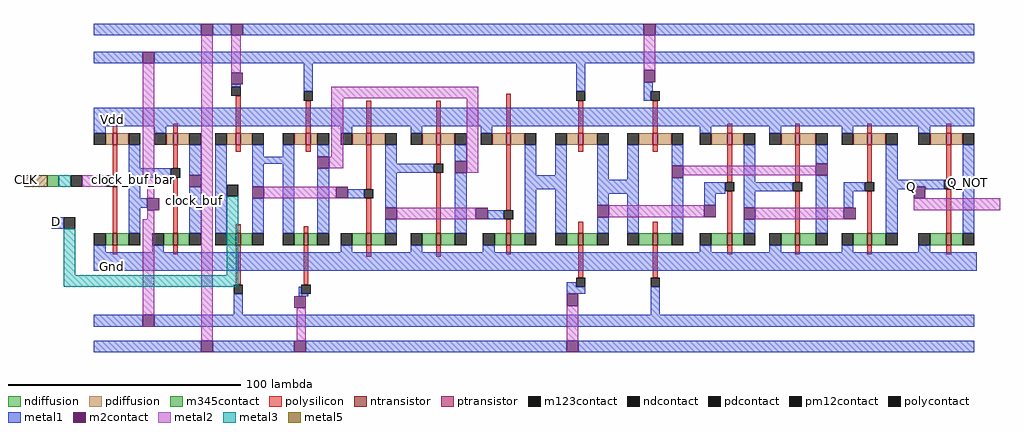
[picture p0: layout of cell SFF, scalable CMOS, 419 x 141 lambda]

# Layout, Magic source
magic
tech scmos
<< ntransistor >>
rect -88 -43 -86 -38
rect -62 -43 -60 -38
rect -35 -43 -33 -38
rect -6 -43 -4 -38
rect 21 -43 23 -38
rect 51 -43 53 -38
rect 81 -43 83 -38
rect 112 -43 114 -38
rect 144 -43 146 -38
rect 176 -43 178 -38
rect 205 -43 207 -38
rect 236 -43 238 -38
rect 270 -43 272 -38
<< ptransistor >>
rect -88 0 -86 5
rect -62 0 -60 5
rect -35 0 -33 5
rect -5 0 -3 5
rect 21 0 23 5
rect 51 0 53 5
rect 81 0 83 5
rect 112 0 114 5
rect 144 0 146 5
rect 176 0 178 5
rect 205 0 207 5
rect 236 0 238 5
rect 270 0 272 5
<< ndiffusion >>
rect -91 -43 -88 -38
rect -86 -43 -81 -38
rect -66 -43 -62 -38
rect -60 -43 -55 -38
rect -39 -43 -35 -38
rect -33 -43 -28 -38
rect -10 -43 -6 -38
rect -4 -43 0 -38
rect 15 -43 21 -38
rect 23 -43 29 -38
rect 45 -43 51 -38
rect 53 -43 59 -38
rect 76 -43 81 -38
rect 83 -43 89 -38
rect 107 -43 112 -38
rect 114 -43 120 -38
rect 138 -43 144 -38
rect 146 -43 152 -38
rect 169 -43 176 -38
rect 178 -43 183 -38
rect 199 -43 205 -38
rect 207 -43 214 -38
rect 230 -43 236 -38
rect 238 -43 244 -38
rect 263 -43 270 -38
rect 272 -43 277 -38
<< pdiffusion >>
rect -91 0 -88 5
rect -86 0 -81 5
rect -65 0 -62 5
rect -60 0 -55 5
rect -39 0 -35 5
rect -33 0 -28 5
rect -10 0 -5 5
rect -3 0 0 5
rect 15 0 21 5
rect 23 0 29 5
rect 45 0 51 5
rect 53 0 59 5
rect 75 0 81 5
rect 83 0 89 5
rect 107 0 112 5
rect 114 0 120 5
rect 138 0 144 5
rect 146 0 152 5
rect 169 0 176 5
rect 178 0 183 5
rect 199 0 205 5
rect 207 0 214 5
rect 230 0 236 5
rect 238 0 244 5
rect 263 0 270 5
rect 272 0 277 5
<< ndcontact >>
rect -96 -43 -91 -38
rect -81 -43 -76 -38
rect -71 -43 -66 -38
rect -55 -43 -50 -38
rect -44 -43 -39 -38
rect -28 -43 -23 -38
rect -15 -43 -10 -38
rect 0 -43 5 -38
rect 10 -43 15 -38
rect 29 -43 34 -38
rect 40 -43 45 -38
rect 59 -43 64 -38
rect 71 -43 76 -38
rect 89 -43 94 -38
rect 102 -43 107 -38
rect 120 -43 125 -38
rect 133 -43 138 -38
rect 152 -43 157 -38
rect 164 -43 169 -38
rect 183 -43 188 -38
rect 194 -43 199 -38
rect 214 -43 219 -38
rect 225 -43 230 -38
rect 244 -43 249 -38
rect 258 -43 263 -38
rect 277 -43 282 -38
<< pdcontact >>
rect -96 0 -91 5
rect -81 0 -76 5
rect -70 0 -65 5
rect -55 0 -50 5
rect -44 0 -39 5
rect -28 0 -23 5
rect -15 0 -10 5
rect 0 0 5 5
rect 10 0 15 5
rect 29 0 34 5
rect 40 0 45 5
rect 59 0 64 5
rect 70 0 75 5
rect 89 0 94 5
rect 102 0 107 5
rect 120 0 125 5
rect 133 0 138 5
rect 152 0 157 5
rect 164 0 169 5
rect 183 0 188 5
rect 194 0 199 5
rect 214 0 219 5
rect 225 0 230 5
rect 244 0 249 5
rect 258 0 263 5
rect 277 0 282 5
<< polysilicon >>
rect -88 5 -86 10
rect -62 5 -60 9
rect -35 5 -33 21
rect -5 5 -3 19
rect 21 5 23 19
rect 51 5 53 19
rect 81 5 83 22
rect 112 5 114 19
rect 144 5 146 19
rect 176 5 178 9
rect 205 5 207 9
rect 236 5 238 9
rect 270 5 272 9
rect -88 -13 -86 0
rect -62 -10 -60 0
rect -35 -3 -33 0
rect -5 -3 -3 0
rect -88 -38 -86 -18
rect -62 -38 -60 -14
rect 21 -19 23 0
rect 51 -8 53 0
rect -35 -38 -33 -34
rect -6 -38 -4 -35
rect 21 -38 23 -23
rect 51 -38 53 -12
rect 81 -28 83 0
rect 112 -3 114 0
rect 144 -3 146 0
rect 176 -16 178 0
rect 205 -16 207 0
rect 236 -16 238 0
rect 270 -15 272 0
rect 81 -38 83 -32
rect 112 -38 114 -33
rect 144 -38 146 -33
rect 176 -38 178 -20
rect 205 -38 207 -20
rect 236 -38 238 -20
rect 270 -38 272 -19
rect -88 -47 -86 -43
rect -62 -47 -60 -43
rect -35 -60 -33 -43
rect -6 -60 -4 -43
rect 21 -48 23 -43
rect 51 -48 53 -43
rect 81 -47 83 -43
rect 112 -57 114 -43
rect 144 -57 146 -43
rect 176 -47 178 -43
rect 205 -47 207 -43
rect 236 -47 238 -43
rect 270 -47 272 -43
<< polycontact >>
rect -37 21 -33 25
rect -6 19 -2 23
rect 111 19 115 23
rect 143 19 147 23
rect -63 -14 -59 -10
rect 50 -12 54 -8
rect 20 -23 24 -19
rect 175 -20 179 -16
rect 204 -20 208 -16
rect 235 -20 239 -16
rect 269 -19 273 -15
rect 80 -32 84 -28
rect -36 -64 -32 -60
rect -7 -64 -3 -60
rect 111 -61 115 -57
rect 143 -61 147 -57
<< metal1 >>
rect -96 47 -50 52
rect -45 47 -37 52
rect -32 47 140 52
rect 145 47 282 52
rect -96 35 -75 40
rect -70 35 282 40
rect -37 25 -33 26
rect -6 23 -2 35
rect 111 23 115 35
rect 140 23 144 27
rect 140 19 143 23
rect -96 8 282 16
rect -96 5 -91 8
rect -70 5 -65 8
rect 10 5 15 8
rect 40 5 45 8
rect 70 5 75 8
rect 164 5 169 8
rect 194 5 199 8
rect 225 5 230 8
rect 258 5 263 8
rect -81 -10 -76 0
rect -81 -14 -63 -10
rect -55 -13 -50 0
rect -81 -23 -76 -14
rect -81 -27 -73 -23
rect -114 -36 -109 -31
rect -81 -38 -76 -27
rect -55 -38 -50 -18
rect -44 -38 -39 0
rect -28 -5 -23 0
rect -15 -5 -10 0
rect -28 -8 -10 -5
rect -28 -18 -23 -8
rect -28 -38 -23 -23
rect -15 -38 -10 -8
rect 0 -5 5 0
rect 0 -38 5 -10
rect 29 -8 34 0
rect 59 -7 64 0
rect 29 -12 50 -8
rect 13 -23 20 -19
rect 29 -27 34 -12
rect 29 -38 34 -32
rect 59 -38 64 -12
rect 89 -13 94 0
rect 102 -13 107 0
rect 89 -19 107 -13
rect 73 -32 80 -28
rect 89 -38 94 -19
rect 102 -38 107 -19
rect 120 -15 125 0
rect 133 -15 138 0
rect 120 -21 138 -15
rect 120 -26 125 -21
rect 120 -38 125 -31
rect 133 -38 138 -21
rect 152 -9 157 0
rect 152 -38 157 -14
rect 183 -16 188 0
rect 214 -8 219 0
rect 166 -21 175 -16
rect 183 -20 204 -16
rect 166 -26 171 -21
rect 183 -27 188 -20
rect 183 -38 188 -32
rect 214 -38 219 -13
rect 244 -15 249 0
rect 226 -20 235 -16
rect 244 -18 269 -15
rect 244 -19 256 -18
rect 226 -27 230 -20
rect 244 -38 249 -19
rect 261 -19 269 -18
rect 277 -38 282 0
rect -96 -46 -91 -43
rect -71 -46 -66 -43
rect 10 -46 15 -43
rect 40 -46 45 -43
rect 71 -46 76 -43
rect 164 -46 169 -43
rect 194 -46 199 -43
rect 225 -46 230 -43
rect 258 -46 263 -43
rect -96 -54 283 -46
rect -36 -73 -32 -64
rect -8 -64 -7 -61
rect 107 -61 111 -59
rect 107 -64 115 -61
rect -8 -65 -4 -64
rect 143 -73 147 -61
rect -96 -78 -75 -73
rect -70 -78 282 -73
rect -96 -89 -50 -84
rect -45 -89 -10 -84
rect -5 -89 107 -84
rect 112 -89 282 -84
<< m2contact >>
rect -50 47 -45 52
rect -37 47 -32 52
rect 140 47 145 52
rect -75 35 -70 40
rect -37 26 -32 31
rect 140 27 145 32
rect -55 -18 -50 -13
rect -73 -28 -68 -23
rect -28 -23 -23 -18
rect 0 -10 5 -5
rect 59 -12 64 -7
rect 8 -23 13 -18
rect 29 -32 34 -27
rect 68 -32 73 -27
rect 120 -31 125 -26
rect 152 -14 157 -9
rect 214 -13 219 -8
rect 166 -31 171 -26
rect 183 -32 188 -27
rect 226 -32 231 -27
rect 256 -23 261 -18
rect -10 -70 -5 -65
rect 107 -69 112 -64
rect -75 -78 -70 -73
rect -50 -89 -45 -84
rect -10 -89 -5 -84
rect 107 -89 112 -84
<< pm12contact >>
rect -91 -18 -86 -13
<< metal2 >>
rect -75 -13 -70 35
rect -101 -18 -91 -13
rect -73 -23 -70 -13
rect -73 -32 -70 -28
rect -75 -73 -70 -32
rect -50 -84 -45 47
rect -37 31 -33 47
rect 140 32 145 47
rect 6 20 69 25
rect 6 -5 11 20
rect 5 -10 11 -5
rect 64 -12 69 20
rect 157 -13 214 -9
rect -23 -23 8 -18
rect 34 -32 68 -27
rect 125 -31 166 -26
rect 188 -32 226 -27
rect 256 -28 293 -23
rect -9 -84 -5 -70
rect 107 -84 112 -69
<< m123contact >>
rect -106 -18 -101 -13
rect -109 -36 -104 -31
rect -39 -22 -34 -17
<< metal3 >>
rect -111 -18 -106 -13
rect -109 -56 -104 -36
rect -39 -56 -34 -22
rect -109 -61 -34 -56
<< m345contact >>
rect -116 -18 -111 -13
<< metal5 >>
rect -126 -18 -116 -13
<< labels >>
rlabel metal1 -53 -24 -53 -24 1 clock_buf
rlabel metal1 -79 -15 -79 -15 1 clock_buf_bar
rlabel metal1 255 -18 255 -18 1 Q
rlabel metal1 279 -16 279 -16 7 Q_NOT
rlabel metal1 -88 11 -88 11 1 Vdd
rlabel metal1 -88 -52 -88 -52 1 Gnd
rlabel metal1 -112 -33 -112 -33 3 D
rlabel metal5 -125 -15 -125 -15 3 CLK
<< end >>
